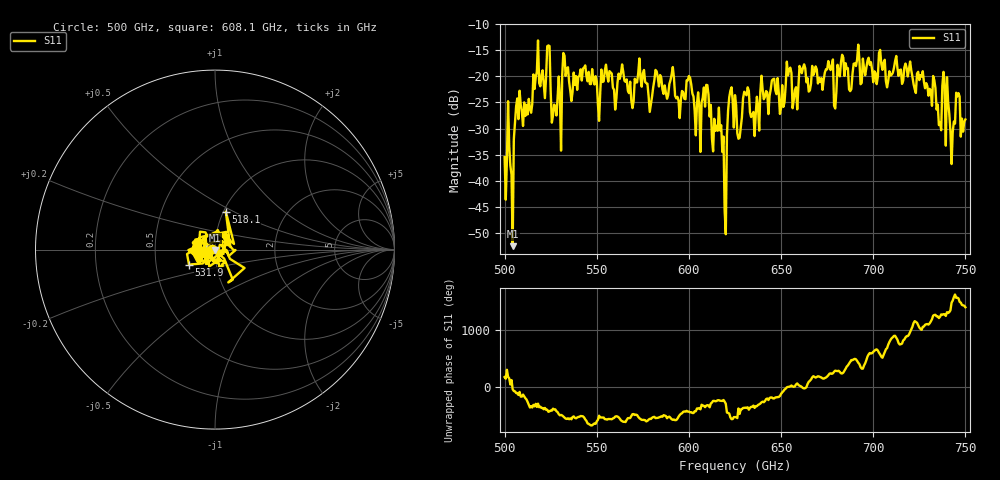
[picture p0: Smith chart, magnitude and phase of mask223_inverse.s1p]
!Created with skrf (http://scikit-rf.org).
# GHz S MA R 50.0
!freq magS11 angS11
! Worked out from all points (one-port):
!   401 points, 500 GHz to 750 GHz, reference 50 ohm
!   lowest |S11| = -52.5 dB at 504.4 GHz (marker M1), VSWR 1.00, Z = 50.2 - j0.145 ohm
!   |S11| at or under -10 dB: start of sweep to end of sweep
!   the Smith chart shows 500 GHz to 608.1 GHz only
!   S11 on the Smith chart (normalised r, x): 500 GHz: 0.97, +0.00; 518.1 GHz: 1.03, +0.46; 531.9 GHz: 0.74, -0.13; 608.1 GHz: 1.13, +0.10
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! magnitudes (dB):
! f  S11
! 500 GHz  -35.5
! 504.4 GHz  -52.5
! 506.9 GHz  -24.2
! 513.8 GHz  -26.2
! 518.1 GHz  -13.1
! 523.8 GHz  -14.1
! 526.9 GHz  -25.4
! 531.2 GHz  -19.8
! 531.9 GHz  -15.5
! 562.5 GHz  -20.5
! 579.4 GHz  -25.3
! 590.6 GHz  -19.6
! 593.8 GHz  -23.9
! 608.1 GHz  -22.1
! 617.5 GHz  -29.4
! 619.4 GHz  -45.6
! 621.9 GHz  -24.0
! 625 GHz  -23.6
! 656.2 GHz  -26.1
! 687.5 GHz  -22.8
! 691.2 GHz  -16.8
! 718.8 GHz  -20.0
! 733.8 GHz  -22.3
! 735.6 GHz  -29.3
! 738.8 GHz  -22.2
! 743.1 GHz  -30.6
! 745.6 GHz  -23.9
! 750 GHz  -28.3
